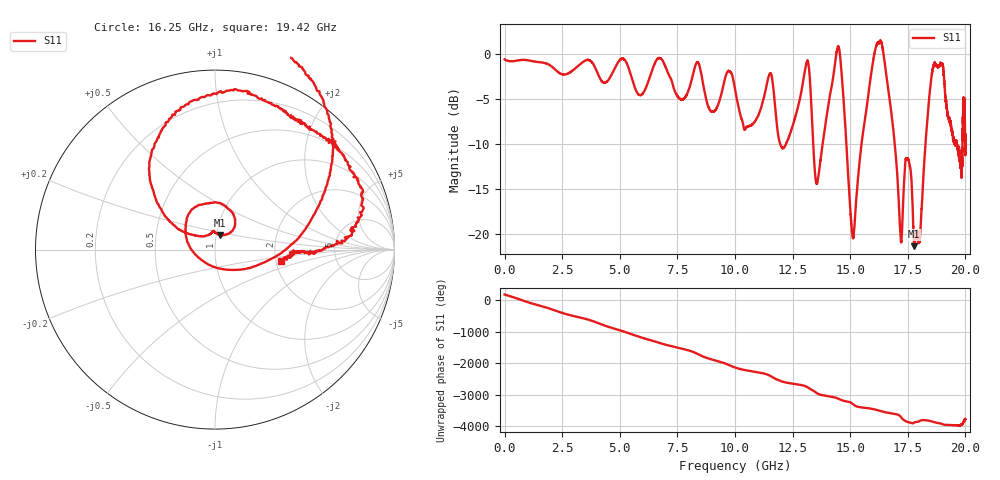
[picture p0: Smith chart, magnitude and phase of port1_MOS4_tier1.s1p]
! Created with skrf 1.8.0 (http://scikit-rf.org).
# GHz S RI R 50.0
!freq ReS11 ImS11
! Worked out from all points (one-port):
!   10001 points, 1 MHz to 20 GHz, reference 50 ohm
!   lowest |S11| = -21.4 dB at 17.78 GHz (marker M1), VSWR 1.19, Z = 52.2 + j8.49 ohm
!   |S11| at or under -10 dB: 13.4 GHz to 13.8 GHz (406.1 MHz wide, 2.99 % of centre); 14.83 GHz to 15.49 GHz (657.7 MHz wide, 4.34 % of centre); 16.93 GHz to 18.27 GHz (1.332 GHz wide, 7.57 % of centre) (the widest 3 of 16)
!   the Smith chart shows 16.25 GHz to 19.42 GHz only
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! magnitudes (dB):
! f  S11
! 1 MHz  -0.6
! 2.501 GHz  -2.2
! 5.001 GHz  -0.6
! 5.891 GHz  -4.6
! 6.773 GHz  -0.4
! 7.501 GHz  -4.7
! 8.363 GHz  -0.9
! 8.975 GHz  -6.3
! 10 GHz  -3.8
! 10.48 GHz  -8.1
! 11.53 GHz  -2.1
! 11.99 GHz  -10.2
! 12.5 GHz  -8.0
! 13.15 GHz  -0.7
! 13.57 GHz  -14.2
! 14.49 GHz  0.9
! 15 GHz  -17.0
! 15.16 GHz  -19.9
! 16.24 GHz  1.3
! 16.8 GHz  -6.7
! 17.18 GHz  -20.4
! 17.5 GHz  -11.6
! 17.78 GHz  -21.4
! 18.03 GHz  -20.3
! 18.64 GHz  -1.0
! 18.99 GHz  -1.2
! 19.76 GHz  -11.1
! 20 GHz  -9.3
